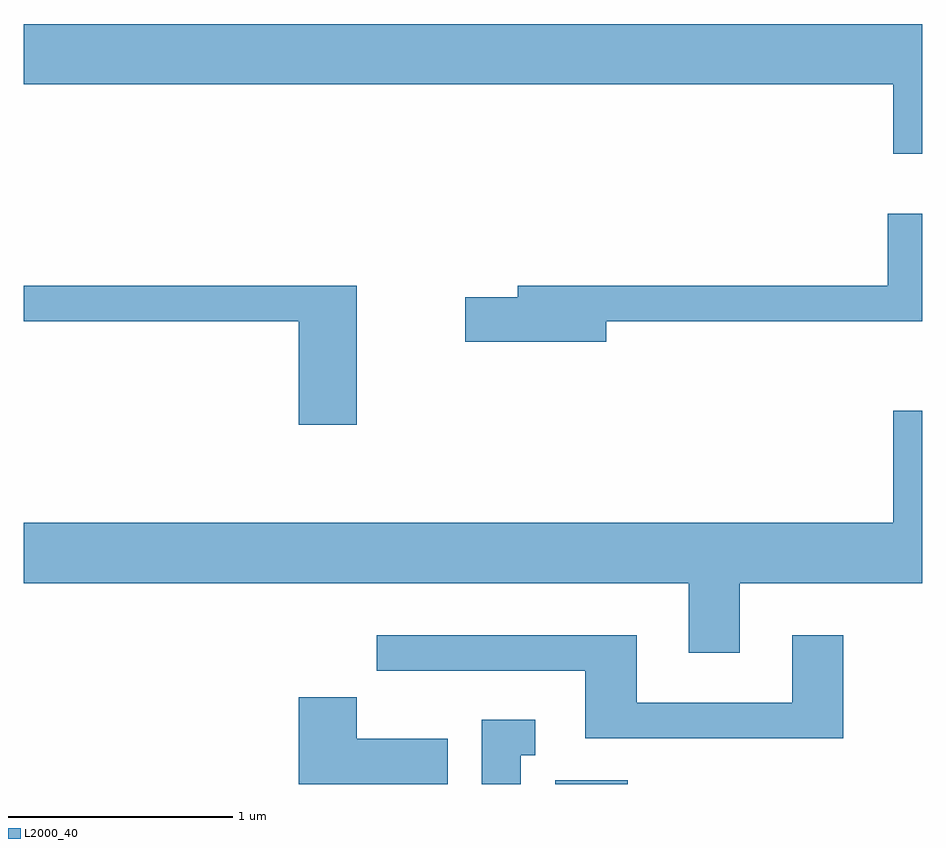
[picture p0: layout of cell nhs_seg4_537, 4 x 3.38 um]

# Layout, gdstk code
import gdstk
lib = gdstk.Library(unit=1e-6, precision=1e-09)
def R(c, l, rs):  # rectangles x0, y0, x1, y1
    for r in rs: c.add(gdstk.rectangle(r[:2], r[2:], *l))
def P(c, l, *ps):  # polygons
    for p in ps: c.add(gdstk.Polygon(p, *l))
L2000_40 = (2000, 40)

nhs_seg4_537 = lib.new_cell('nhs_seg4_537')
R(nhs_seg4_537, L2000_40, [(201.976,1375.982,202.299,1375.999)])
P(nhs_seg4_537, L2000_40, [(203.611,1379.364),(199.611,1379.364),(199.611,1379.096),(203.481,1379.096),(203.481,1378.786),(203.611,1378.786)],
  [(202.204,1378.041),(203.611,1378.041),(203.611,1378.519),(203.456,1378.519),(203.456,1378.199),(201.811,1378.199),(201.811,1378.149),(201.576,1378.149),(201.576,1377.951),(202.204,1377.951)],
  [(201.094,1378.199),(199.611,1378.199),(199.611,1378.041),(200.836,1378.041),(200.836,1377.581),(201.094,1377.581)],
  [(202.799,1376.876),(203.611,1376.876),(203.611,1377.644),(203.481,1377.644),(203.481,1377.144),(199.611,1377.144),(199.611,1376.876),(202.571,1376.876),(202.571,1376.566),(202.799,1376.566)],
  [(203.259,1376.644),(203.031,1376.644),(203.031,1376.344),(202.339,1376.344),(202.339,1376.644),(201.183,1376.644),(201.183,1376.486),(202.111,1376.486),(202.111,1376.186),(203.259,1376.186)],
  [(201.499,1376.184),(201.094,1376.184),(201.094,1376.369),(200.836,1376.369),(200.836,1375.982),(201.499,1375.982)],
  [(201.824,1376.111),(201.888,1376.111),(201.888,1376.269),(201.651,1376.269),(201.651,1375.982),(201.824,1375.982)])

lib.write_gds('nhs_seg4_537.gds')
